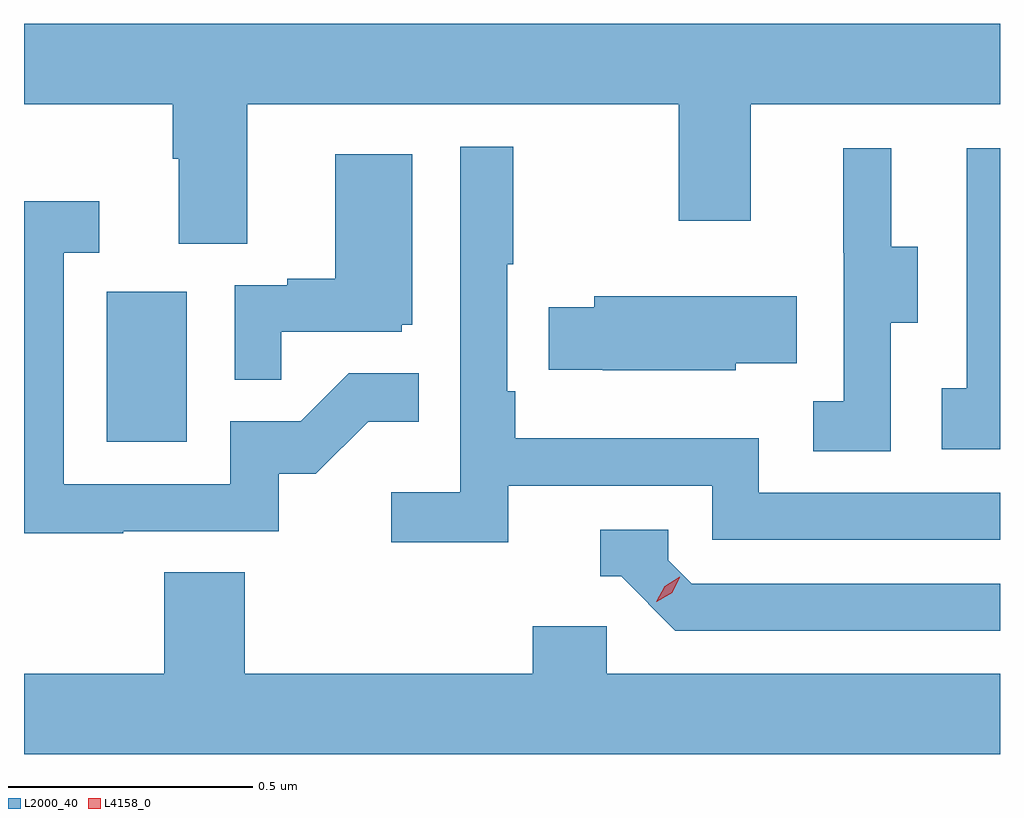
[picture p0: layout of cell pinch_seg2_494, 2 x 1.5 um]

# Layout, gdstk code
import gdstk
lib = gdstk.Library(unit=1e-6, precision=1e-09)
def R(c, l, rs):  # rectangles x0, y0, x1, y1
    for r in rs: c.add(gdstk.rectangle(r[:2], r[2:], *l))
def P(c, l, *ps):  # polygons
    for p in ps: c.add(gdstk.Polygon(p, *l))
L2000_40 = (2000, 40)
L4158_0 = (4158, 0)

pinch_seg2_494 = lib.new_cell('pinch_seg2_494')
R(pinch_seg2_494, L2000_40, [(925.226,587.004,925.39,587.311)])
P(pinch_seg2_494, L2000_40, [(925.513,587.696),(926.398,587.696),(926.398,587.457),(926.545,587.457),(926.545,587.696),(927.056,587.696),(927.056,587.86),(925.056,587.86),(925.056,587.696),(925.361,587.696),(925.361,587.584),(925.373,587.584),(925.373,587.41),(925.513,587.41)],
  [(926.048,586.914),(926.466,586.914),(926.466,586.803),(927.056,586.803),(927.056,586.899),(926.562,586.899),(926.562,587.011),(926.063,587.011),(926.063,587.107),(926.046,587.107),(926.046,587.368),(926.059,587.368),(926.059,587.608),(925.95,587.608),(925.95,586.9),(925.809,586.9),(925.809,586.798),(926.048,586.798)],
  [(927.056,587.605),(926.988,587.605),(926.988,587.114),(926.937,587.114),(926.937,586.989),(927.056,586.989)],
  [(926.832,587.248),(926.887,587.248),(926.887,587.403),(926.833,587.403),(926.833,587.605),(926.735,587.605),(926.735,587.391),(926.736,587.391),(926.736,587.087),(926.673,587.087),(926.673,586.984),(926.832,586.984)],
  [(925.583,587.229),(925.83,587.229),(925.83,587.244),(925.852,587.244),(925.852,587.593),(925.694,587.593),(925.694,587.338),(925.595,587.338),(925.595,587.325),(925.488,587.325),(925.488,587.131),(925.583,587.131)],
  [(925.259,586.821),(925.578,586.821),(925.578,586.938),(925.654,586.938),(925.761,587.045),(925.865,587.045),(925.865,587.144),(925.721,587.144),(925.623,587.046),(925.479,587.046),(925.479,586.917),(925.137,586.917),(925.137,587.391),(925.21,587.391),(925.21,587.497),(925.056,587.497),(925.056,586.816),(925.259,586.816)],
  [(926.514,587.165),(926.639,587.165),(926.639,587.302),(926.225,587.302),(926.225,587.28),(926.131,587.28),(926.131,587.151),(926.242,587.151),(926.242,587.15),(926.514,587.15)],
  [(927.056,586.713),(926.424,586.713),(926.376,586.761),(926.376,586.824),(926.237,586.824),(926.237,586.728),(926.28,586.728),(926.391,586.617),(927.056,586.617)],
  [(927.056,586.528),(926.25,586.528),(926.25,586.626),(926.099,586.626),(926.099,586.528),(925.508,586.528),(925.508,586.736),(925.343,586.736),(925.343,586.528),(925.056,586.528),(925.056,586.364),(927.056,586.364)])
P(pinch_seg2_494, L4158_0, [(926.352,586.676),(926.352,586.676),(926.369,586.708),(926.4,586.727),(926.4,586.727),(926.4,586.726),(926.384,586.694),(926.353,586.676)])

lib.write_gds('pinch_seg2_494.gds')
